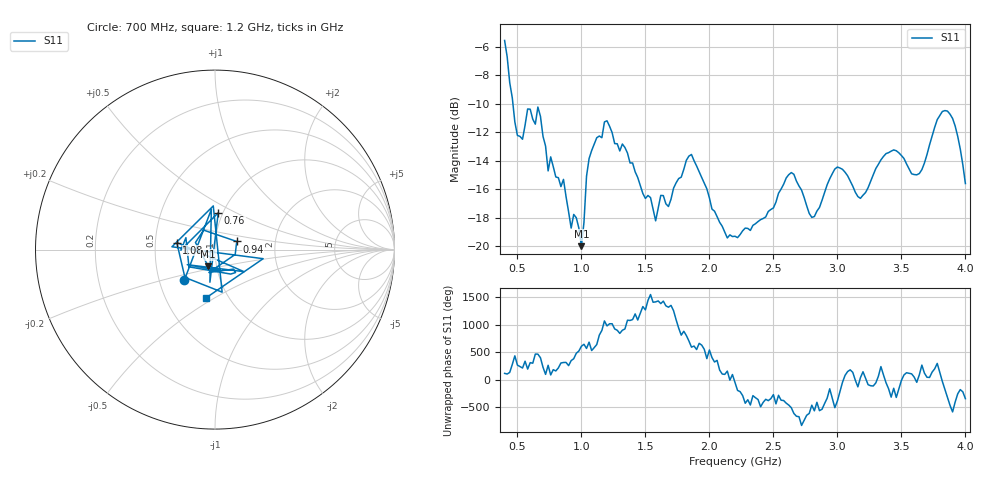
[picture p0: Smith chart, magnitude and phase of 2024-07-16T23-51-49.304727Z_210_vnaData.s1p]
!Created with skrf (http://scikit-rf.org).
# Hz S RI R 50.0
!freq ReS11 ImS11
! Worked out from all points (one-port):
!   181 points, 400 MHz to 4 GHz, reference 50 ohm
!   lowest |S11| = -20.0 dB at 1 GHz (marker M1), VSWR 1.22, Z = 45.6 - j8.54 ohm
!   |S11| at or under -10 dB: 464.9 MHz to end of sweep
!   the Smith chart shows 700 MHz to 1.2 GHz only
!   S11 on the Smith chart (normalised r, x): 700 MHz: 0.67, -0.25; 760 MHz: 0.95, +0.41; 940 MHz: 1.27, +0.12; 1.08 GHz: 0.65, +0.05; 1.2 GHz: 0.78, -0.46
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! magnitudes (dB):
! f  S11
! 400 MHz  -5.6
! 500 MHz  -12.2
! 660 MHz  -10.2
! 700 MHz  -12.3
! 740 MHz  -14.7
! 760 MHz  -13.7
! 860 MHz  -15.3
! 920 MHz  -18.7
! 940 MHz  -17.8
! 1 GHz  -20.0
! 1.04 GHz  -15.1
! 1.08 GHz  -13.3
! 1.2 GHz  -11.2
! 1.3 GHz  -13.3
! 1.58 GHz  -18.2
! 1.76 GHz  -15.2
! 1.86 GHz  -13.6
! 2.2 GHz  -19.3
! 2.66 GHz  -15.0
! 2.8 GHz  -18.0
! 2.98 GHz  -14.6
! 3.1 GHz  -15.4
! 3.18 GHz  -16.6
! 3.44 GHz  -13.2
! 3.56 GHz  -14.6
! 3.64 GHz  -14.9
! 3.86 GHz  -10.5
! 4 GHz  -15.6
